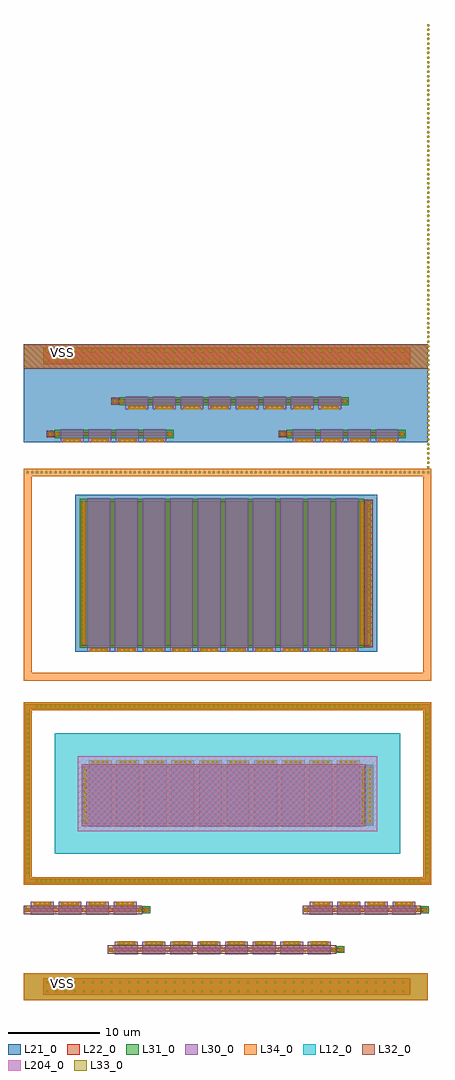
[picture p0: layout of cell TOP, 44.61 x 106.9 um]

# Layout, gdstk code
from math import pi, radians
import gdstk
lib = gdstk.Library(unit=1e-6, precision=5e-09)
def R(c, l, rs):  # rectangles x0, y0, x1, y1
    for r in rs: c.add(gdstk.rectangle(r[:2], r[2:], *l))
def A(c, l, x, y, w, h, nx, ny, dx, dy):  # array of equal rectangles
    R(c, l, [(x+i*dx, y+j*dy, x+i*dx+w, y+j*dy+h) for i in range(nx) for j in range(ny)])
def P(c, l, *ps):  # polygons
    for p in ps: c.add(gdstk.Polygon(p, *l))
L12_0 = (12, 0)
L21_0 = (21, 0)
L22_0 = (22, 0)
L30_0 = (30, 0)
L31_0 = (31, 0)
L32_0 = (32, 0)
L33_0 = (33, 0)
L34_0 = (34, 0)
L204_0 = (204, 0)

nfet_3 = lib.new_cell('nfet$3')
R(nfet_3, L12_0, [(-3.55,-3.26,34.32,9.96)])
R(nfet_3, L22_0, [(-0.42,0,0,6.33), (0,0,30.06,6.33), (30.06,0,30.48,6.33), (30.48,0,31.19,6.33)])
P(nfet_3, L22_0, [(-6.75,-6.46),(-6.75,12.66),(-6.25,12.66),(-6.25,-5.96),(37.02,-5.96),(37.02,12.66),(-6.75,12.66),(-6.75,13.16),(37.52,13.16),(37.52,-6.46)])
A(nfet_3, L30_0, 0.19, -0.3, 2.5, 6.93, 10, 1, 3.02, 0)
A(nfet_3, L30_0, 0.19, 6.63, 2.5, 0.36, 10, 1, 3.02, 0)
R(nfet_3, L31_0, [(30.48,-0.17,31.36,6.5)])
P(nfet_3, L31_0, [(-6.92,-6.63),(-6.92,12.49),(-6.08,12.49),(-6.08,-5.79),(36.85,-5.79),(36.85,12.49),(-6.92,12.49),(-6.92,13.33),(37.69,13.33),(37.69,-6.63)])
R(nfet_3, L32_0, [(-0.59,-0.24,30.48,6.57)])
A(nfet_3, L33_0, -5.635, -6.32, 0.22, 0.22, 83, 2, 0.51, 19.12)
A(nfet_3, L33_0, -6.61, -5.43, 0.22, 0.22, 1, 35, 0, 0.51)
A(nfet_3, L33_0, 37.16, -5.43, 0.22, 0.22, 1, 35, 0, 0.51)
A(nfet_3, L33_0, -0.32, 0.25, 0.22, 0.22, 1, 12, 0, 0.51)
A(nfet_3, L33_0, 30.16, 0.25, 0.22, 0.22, 1, 12, 0, 0.51)
A(nfet_3, L33_0, 30.87, 0.25, 0.22, 0.22, 1, 12, 0, 0.51)
A(nfet_3, L33_0, 0.565, 6.7, 0.22, 0.22, 4, 1, 0.51, 0)
A(nfet_3, L33_0, 3.585, 6.7, 0.22, 0.22, 4, 1, 0.51, 0)
A(nfet_3, L33_0, 6.605, 6.7, 0.22, 0.22, 4, 1, 0.51, 0)
A(nfet_3, L33_0, 9.625, 6.7, 0.22, 0.22, 4, 1, 0.51, 0)
A(nfet_3, L33_0, 12.645, 6.7, 0.22, 0.22, 4, 1, 0.51, 0)
A(nfet_3, L33_0, 15.665, 6.7, 0.22, 0.22, 4, 1, 0.51, 0)
A(nfet_3, L33_0, 18.685, 6.7, 0.22, 0.22, 4, 1, 0.51, 0)
A(nfet_3, L33_0, 21.705, 6.7, 0.22, 0.22, 4, 1, 0.51, 0)
A(nfet_3, L33_0, 24.725, 6.7, 0.22, 0.22, 4, 1, 0.51, 0)
A(nfet_3, L33_0, 27.745, 6.7, 0.22, 0.22, 4, 1, 0.51, 0)
A(nfet_3, L34_0, 0.485, 6.62, 1.91, 0.38, 10, 1, 3.02, 0)
R(nfet_3, L34_0, [(-0.4,0.17,-0.02,6.16), (30.08,0.17,30.46,6.16), (30.79,0.17,31.17,6.16)])
R(nfet_3, L204_0, [(-1.04,-0.75,31.81,7.45)])

pfet_2 = lib.new_cell('pfet$2')
R(pfet_2, L21_0, [(-1.15,-0.69,31.94,16.515)])
R(pfet_2, L22_0, [(-0.46,0,0,15.825), (0,0,30.06,15.825), (30.06,0,30.52,15.825), (30.52,0,31.25,15.825)])
A(pfet_2, L30_0, 0.19, -0.68, 2.5, 0.38, 10, 1, 3.02, 0)
A(pfet_2, L30_0, 0.19, -0.3, 2.5, 16.425, 10, 1, 3.02, 0)
R(pfet_2, L31_0, [(-0.63,-0.24,30.52,16.065)])
R(pfet_2, L32_0, [(30.52,-0.17,31.42,15.995)])
A(pfet_2, L33_0, 0.565, -0.6, 0.22, 0.22, 4, 1, 0.51, 0)
A(pfet_2, L33_0, 3.585, -0.6, 0.22, 0.22, 4, 1, 0.51, 0)
A(pfet_2, L33_0, 6.605, -0.6, 0.22, 0.22, 4, 1, 0.51, 0)
A(pfet_2, L33_0, 9.625, -0.6, 0.22, 0.22, 4, 1, 0.51, 0)
A(pfet_2, L33_0, 12.645, -0.6, 0.22, 0.22, 4, 1, 0.51, 0)
A(pfet_2, L33_0, 15.665, -0.6, 0.22, 0.22, 4, 1, 0.51, 0)
A(pfet_2, L33_0, 18.685, -0.6, 0.22, 0.22, 4, 1, 0.51, 0)
A(pfet_2, L33_0, 21.705, -0.6, 0.22, 0.22, 4, 1, 0.51, 0)
A(pfet_2, L33_0, 24.725, -0.6, 0.22, 0.22, 4, 1, 0.51, 0)
A(pfet_2, L33_0, 27.745, -0.6, 0.22, 0.22, 4, 1, 0.51, 0)
A(pfet_2, L33_0, -0.34, 0.155, 0.22, 0.22, 1, 31, 0, 0.51)
A(pfet_2, L33_0, 30.18, 0.155, 0.22, 0.22, 1, 31, 0, 0.51)
A(pfet_2, L33_0, 30.91, 0.155, 0.22, 0.22, 1, 31, 0, 0.51)
A(pfet_2, L34_0, 0.485, -0.68, 1.91, 0.38, 10, 1, 3.02, 0)
R(pfet_2, L34_0, [(-0.42,0.075,-0.04,15.755), (30.1,0.075,30.48,15.755), (30.83,0.075,31.21,15.755)])

nfet = lib.new_cell('nfet')
R(nfet, L22_0, [(-0.42,-0.01,0,0.43), (11.94,-0.01,12.36,0.43), (12.36,-0.01,13.07,0.43), (0,0,11.94,0.42)])
A(nfet, L30_0, 0.19, -0.3, 2.5, 1.02, 4, 1, 3.02, 0)
A(nfet, L30_0, 0.19, 0.72, 2.5, 0.36, 4, 1, 3.02, 0)
R(nfet, L31_0, [(12.36,-0.17,13.24,0.59)])
R(nfet, L32_0, [(-0.59,-0.25,12.36,0.67)])
A(nfet, L33_0, 0.565, 0.79, 0.22, 0.22, 4, 1, 0.51, 0)
A(nfet, L33_0, 3.585, 0.79, 0.22, 0.22, 4, 1, 0.51, 0)
A(nfet, L33_0, 6.605, 0.79, 0.22, 0.22, 4, 1, 0.51, 0)
A(nfet, L33_0, 9.625, 0.79, 0.22, 0.22, 4, 1, 0.51, 0)
R(nfet, L33_0, [(-0.32,0.1,-0.1,0.32), (12.04,0.1,12.26,0.32), (12.75,0.1,12.97,0.32)])
A(nfet, L34_0, 0.485, 0.71, 1.91, 0.38, 4, 1, 3.02, 0)
R(nfet, L34_0, [(-0.4,0.02,-0.02,0.4), (11.96,0.02,12.34,0.4), (12.67,0.02,13.05,0.4)])

nfet_6 = lib.new_cell('nfet$6')
R(nfet_6, L22_0, [(-0.42,-0.01,0,0.43), (24.02,-0.01,24.44,0.43), (24.44,-0.01,25.15,0.43), (0,0,24.02,0.42)])
A(nfet_6, L30_0, 0.19, -0.3, 2.5, 1.02, 8, 1, 3.02, 0)
A(nfet_6, L30_0, 0.19, 0.72, 2.5, 0.36, 8, 1, 3.02, 0)
R(nfet_6, L31_0, [(24.44,-0.17,25.32,0.59)])
R(nfet_6, L32_0, [(-0.59,-0.25,24.44,0.67)])
A(nfet_6, L33_0, 0.565, 0.79, 0.22, 0.22, 4, 1, 0.51, 0)
A(nfet_6, L33_0, 3.585, 0.79, 0.22, 0.22, 4, 1, 0.51, 0)
A(nfet_6, L33_0, 6.605, 0.79, 0.22, 0.22, 4, 1, 0.51, 0)
A(nfet_6, L33_0, 9.625, 0.79, 0.22, 0.22, 4, 1, 0.51, 0)
A(nfet_6, L33_0, 12.645, 0.79, 0.22, 0.22, 4, 1, 0.51, 0)
A(nfet_6, L33_0, 15.665, 0.79, 0.22, 0.22, 4, 1, 0.51, 0)
A(nfet_6, L33_0, 18.685, 0.79, 0.22, 0.22, 4, 1, 0.51, 0)
A(nfet_6, L33_0, 21.705, 0.79, 0.22, 0.22, 4, 1, 0.51, 0)
R(nfet_6, L33_0, [(-0.32,0.1,-0.1,0.32), (24.12,0.1,24.34,0.32), (24.83,0.1,25.05,0.32)])
A(nfet_6, L34_0, 0.485, 0.71, 1.91, 0.38, 8, 1, 3.02, 0)
R(nfet_6, L34_0, [(-0.4,0.02,-0.02,0.4), (24.04,0.02,24.42,0.4), (24.75,0.02,25.13,0.4)])

pfet_1 = lib.new_cell('pfet$1')
R(pfet_1, L21_0, [(-1.16,-0.71,13.83,1.13)])
R(pfet_1, L22_0, [(-0.46,-0.01,0,0.43), (11.94,-0.01,12.4,0.43), (12.4,-0.01,13.13,0.43), (0,0,11.94,0.42)])
A(pfet_1, L30_0, 0.19, -0.3, 2.5, 1.02, 4, 1, 3.02, 0)
A(pfet_1, L30_0, 0.19, 0.72, 2.5, 0.38, 4, 1, 3.02, 0)
R(pfet_1, L31_0, [(-0.63,-0.25,12.4,0.67)])
R(pfet_1, L32_0, [(12.4,-0.17,13.3,0.59)])
A(pfet_1, L33_0, 0.565, 0.8, 0.22, 0.22, 4, 1, 0.51, 0)
A(pfet_1, L33_0, 3.585, 0.8, 0.22, 0.22, 4, 1, 0.51, 0)
A(pfet_1, L33_0, 6.605, 0.8, 0.22, 0.22, 4, 1, 0.51, 0)
A(pfet_1, L33_0, 9.625, 0.8, 0.22, 0.22, 4, 1, 0.51, 0)
R(pfet_1, L33_0, [(-0.34,0.1,-0.12,0.32), (12.06,0.1,12.28,0.32), (12.79,0.1,13.01,0.32)])
A(pfet_1, L34_0, 0.485, 0.72, 1.91, 0.38, 4, 1, 3.02, 0)
R(pfet_1, L34_0, [(-0.42,0.02,-0.04,0.4), (11.98,0.02,12.36,0.4), (12.71,0.02,13.09,0.4)])

pfet = lib.new_cell('pfet')
R(pfet, L21_0, [(-1.16,-0.71,25.91,1.13)])
R(pfet, L22_0, [(-0.46,-0.01,0,0.43), (24.02,-0.01,24.48,0.43), (24.48,-0.01,25.21,0.43), (0,0,24.02,0.42)])
A(pfet, L30_0, 0.19, -0.3, 2.5, 1.02, 8, 1, 3.02, 0)
A(pfet, L30_0, 0.19, 0.72, 2.5, 0.38, 8, 1, 3.02, 0)
R(pfet, L31_0, [(-0.63,-0.25,24.48,0.67)])
R(pfet, L32_0, [(24.48,-0.17,25.38,0.59)])
A(pfet, L33_0, 0.565, 0.8, 0.22, 0.22, 4, 1, 0.51, 0)
A(pfet, L33_0, 3.585, 0.8, 0.22, 0.22, 4, 1, 0.51, 0)
A(pfet, L33_0, 6.605, 0.8, 0.22, 0.22, 4, 1, 0.51, 0)
A(pfet, L33_0, 9.625, 0.8, 0.22, 0.22, 4, 1, 0.51, 0)
A(pfet, L33_0, 12.645, 0.8, 0.22, 0.22, 4, 1, 0.51, 0)
A(pfet, L33_0, 15.665, 0.8, 0.22, 0.22, 4, 1, 0.51, 0)
A(pfet, L33_0, 18.685, 0.8, 0.22, 0.22, 4, 1, 0.51, 0)
A(pfet, L33_0, 21.705, 0.8, 0.22, 0.22, 4, 1, 0.51, 0)
R(pfet, L33_0, [(-0.34,0.1,-0.12,0.32), (24.14,0.1,24.36,0.32), (24.87,0.1,25.09,0.32)])
A(pfet, L34_0, 0.485, 0.72, 1.91, 0.38, 8, 1, 3.02, 0)
R(pfet, L34_0, [(-0.42,0.02,-0.04,0.4), (24.06,0.02,24.44,0.4), (24.79,0.02,25.17,0.4)])

top = lib.new_cell('TOP')
R(top, L21_0, [(0,-306.74,44.23,-295.98)])
R(top, L22_0, [(2.1,-367.24,42.3,-365.44), (2.1,-298.16,42.3,-296.36)])
R(top, L31_0, [(0,-367.81,44.23,-364.88)])
R(top, L32_0, [(0,-298.65,44.23,-295.98)])
A(top, L33_0, 2.44, -366.96, 0.22, 0.22, 40, 2, 1, 1)
A(top, L33_0, 0.31, -310.09, 0.22, 0.22, 87, 1, 0.51, 0)
A(top, L33_0, 44.17, -309.58, 0.22, 0.22, 1, 96, 0, 0.51)
A(top, L33_0, 2.44, -297.85, 0.22, 0.22, 40, 2, 1, 1)
R(top, L34_0, [(0,-367.81,44.23,-364.88), (0,-355.18,43.77,-354.34), (43.77,-355.18,44.61,-336.06), (0,-354.34,0.84,-336.06), (0,-336.06,44.61,-335.22), (0,-332.83,43.77,-331.99), (43.77,-332.83,44.61,-310.46), (0,-331.99,0.84,-310.46), (0,-310.46,44.61,-309.62), (0,-298.65,44.23,-295.98)])
top.add(gdstk.Reference(nfet_3, (6.92,-348.55)))
top.add(gdstk.Reference(pfet_2, (6.77,-328.99)))
top.add(gdstk.Reference(nfet, (31.13,-358.15)))
top.add(gdstk.Reference(nfet_6, (9.78,-362.49)))
top.add(gdstk.Reference(pfet_1, (15.79,-305.61), rotation=pi))
top.add(gdstk.Reference(pfet_1, (41.21,-305.61), rotation=pi))
top.add(gdstk.Reference(pfet, (34.955,-302.02), rotation=pi))
top.add(gdstk.Reference(nfet, (0.59,-358.15)))
top.add(gdstk.Label('VSS', (4.27,-296.84), layer=34, texttype=0))
top.add(gdstk.Label('VSS', (4.27,-365.95), layer=34, texttype=0))

lib.write_gds('TOP.gds')
